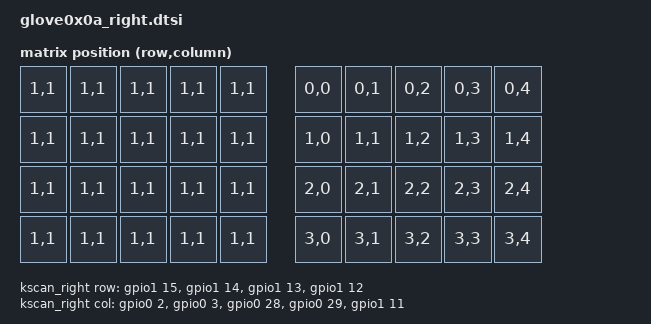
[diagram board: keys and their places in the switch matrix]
#include <dt-bindings/zmk/matrix_transform.h>
#include <physical_layouts.dtsi>
#include <dt-bindings/led/led.h>
//右手用-CENTER
/ {
    chosen {
        zmk,physical-layout = &glove0x0a_layout;
    };

    /* transform（右手 5×4） */
    right_transform: matrix_transform_right {
        compatible = "zmk,matrix-transform";
        rows = <8>;
        columns = <5>;
        map = <
        //dummy(J-key)
RC(1,1) RC(1,1) RC(1,1) RC(1,1) RC(1,1)
RC(1,1) RC(1,1) RC(1,1) RC(1,1) RC(1,1)
RC(1,1) RC(1,1) RC(1,1) RC(1,1) RC(1,1)
RC(1,1) RC(1,1) RC(1,1) RC(1,1) RC(1,1)
        //key-scan
RC(0,0) RC(0,1) RC(0,2) RC(0,3) RC(0,4)
RC(1,0) RC(1,1) RC(1,2) RC(1,3) RC(1,4)
RC(2,0) RC(2,1) RC(2,2) RC(2,3) RC(2,4)
RC(3,0) RC(3,1) RC(3,2) RC(3,3) RC(3,4)
        >;
    };

   /* kscan（右手） */
    kscan_right: kscan {
        compatible = "zmk,kscan-gpio-matrix";
        wakeup-source;
        diode-direction = "row2col";

        /* 行（Row）: 出力 */
        row-gpios =
            <&gpio1 15 GPIO_ACTIVE_HIGH>, /* Row1: D10 P1.15 */
            <&gpio1 14 GPIO_ACTIVE_HIGH>, /* Row2: D9  P1.14 */
            <&gpio1 13 GPIO_ACTIVE_HIGH>, /* Row3: D8  P1.13 */
            <&gpio1 12 GPIO_ACTIVE_HIGH>; /* Row4: D7  P1.12 */
        /* 列（Column）: 入力（プルアップ） */
        col-gpios =
            <&gpio0  2 (GPIO_ACTIVE_HIGH | GPIO_PULL_DOWN)>, /* Col1: D0 P0.02 */
            <&gpio0  3 (GPIO_ACTIVE_HIGH | GPIO_PULL_DOWN)>, /* Col2: D1 P0.03 */
            <&gpio0 28 (GPIO_ACTIVE_HIGH | GPIO_PULL_DOWN)>, /* Col3: D2 P0.28 */
            <&gpio0 29 (GPIO_ACTIVE_HIGH | GPIO_PULL_DOWN)>, /* Col4: D3 P0.29 */
            <&gpio1 11 (GPIO_ACTIVE_HIGH | GPIO_PULL_DOWN)>; /* Col5: D6 P1.11 */
    };

    /* physical-layout 39 キー統合 Physical Layout */
    glove0x0a_layout: glove0x0a_layout {
        compatible = "zmk,physical-layout";
        display-name = "Glove0x0a";
        transform = <&right_transform>;
        kscan = <&kscan_right>;
        keys  //                     w   h    x    y     rot    rx    ry
           =  <&key_physical_attrs 100 100    0    0       0     0     0>
            , <&key_physical_attrs 100 100  100    0       0     0     0>
            , <&key_physical_attrs 100 100  200    0       0     0     0>
            , <&key_physical_attrs 100 100  300    0       0     0     0>
            , <&key_physical_attrs 100 100  400    0       0     0     0>

            , <&key_physical_attrs 100 100    0  100       0     0     0>
            , <&key_physical_attrs 100 100  100  100       0     0     0>
            , <&key_physical_attrs 100 100  200  100       0     0     0>
            , <&key_physical_attrs 100 100  300  100       0     0     0>
            , <&key_physical_attrs 100 100  400  100       0     0     0>

            , <&key_physical_attrs 100 100    0  200       0     0     0>
            , <&key_physical_attrs 100 100  100  200       0     0     0>
            , <&key_physical_attrs 100 100  200  200       0     0     0>
            , <&key_physical_attrs 100 100  300  200       0     0     0>
            , <&key_physical_attrs 100 100  400  200       0     0     0>

            , <&key_physical_attrs 100 100    0  300       0     0     0>
            , <&key_physical_attrs 100 100  100  300       0     0     0>
            , <&key_physical_attrs 100 100  200  300       0     0     0>
            , <&key_physical_attrs 100 100  300  300       0     0     0>
            , <&key_physical_attrs 100 100  400  300       0     0     0>

            , <&key_physical_attrs 100 100  550    0       0     0     0>
            , <&key_physical_attrs 100 100  650    0       0     0     0>
            , <&key_physical_attrs 100 100  750    0       0     0     0>
            , <&key_physical_attrs 100 100  850    0       0     0     0>
            , <&key_physical_attrs 100 100  950    0       0     0     0>

            , <&key_physical_attrs 100 100  550 100       0     0     0>
            , <&key_physical_attrs 100 100  650 100       0     0     0>
            , <&key_physical_attrs 100 100  750 100       0     0     0>
            , <&key_physical_attrs 100 100  850 100       0     0     0>
            , <&key_physical_attrs 100 100  950 100       0     0     0>

            , <&key_physical_attrs 100 100  550  200       0     0     0>
            , <&key_physical_attrs 100 100  650  200       0     0     0>
            , <&key_physical_attrs 100 100  750  200       0     0     0>
            , <&key_physical_attrs 100 100  850  200       0     0     0>
            , <&key_physical_attrs 100 100  950  200       0     0     0>

            , <&key_physical_attrs 100 100  550  300       0     0     0>
            , <&key_physical_attrs 100 100  650  300       0     0     0>
            , <&key_physical_attrs 100 100  750  300       0     0     0>
            , <&key_physical_attrs 100 100  850  300       0     0     0>
            , <&key_physical_attrs 100 100  950  300       0     0     0>
        ;
    };
};
/* I2C（右手のみ） */
&xiao_i2c {
    status = "okay";
};
